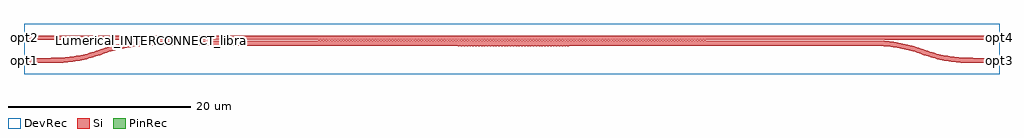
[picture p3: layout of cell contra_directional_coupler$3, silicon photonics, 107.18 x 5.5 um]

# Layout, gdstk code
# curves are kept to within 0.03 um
import gdstk
lib = gdstk.Library(unit=1e-6, precision=1e-09)
def R(c, l, rs):  # rectangles x0, y0, x1, y1
    for r in rs: c.add(gdstk.rectangle(r[:2], r[2:], *l))
def A(c, l, x, y, w, h, nx, ny, dx, dy):  # array of equal rectangles
    R(c, l, [(x+i*dx, y+j*dy, x+i*dx+w, y+j*dy+h) for i in range(nx) for j in range(ny)])
def P(c, l, *ps):  # polygons
    for p in ps: c.add(gdstk.Polygon(p, *l))
Si = (1, 0)
PinRec = (1, 10)
DevRec = (68, 0)

contra_directional_coupl = lib.new_cell('contra_directional_coupler$3')
A(contra_directional_coupl, Si, 33.654, -0.643, 0.158, 0.305, 39, 1, 0.316, 0)
A(contra_directional_coupl, Si, 29.23, -0.642, 0.158, 0.304, 14, 1, 0.316, 0)
A(contra_directional_coupl, Si, 45.978, -0.642, 0.158, 0.304, 14, 1, 0.316, 0)
A(contra_directional_coupl, Si, 25.754, -0.641, 0.158, 0.303, 11, 1, 0.316, 0)
A(contra_directional_coupl, Si, 50.402, -0.641, 0.158, 0.303, 11, 1, 0.316, 0)
A(contra_directional_coupl, Si, 23.226, -0.64, 0.158, 0.302, 8, 1, 0.316, 0)
A(contra_directional_coupl, Si, 53.878, -0.64, 0.158, 0.302, 8, 1, 0.316, 0)
A(contra_directional_coupl, Si, 20.698, -0.639, 0.158, 0.301, 8, 1, 0.316, 0)
A(contra_directional_coupl, Si, 56.406, -0.639, 0.158, 0.301, 8, 1, 0.316, 0)
A(contra_directional_coupl, Si, 18.486, -0.638, 0.158, 0.3, 7, 1, 0.316, 0)
A(contra_directional_coupl, Si, 58.934, -0.638, 0.158, 0.3, 7, 1, 0.316, 0)
A(contra_directional_coupl, Si, 16.274, -0.637, 0.158, 0.299, 7, 1, 0.316, 0)
A(contra_directional_coupl, Si, 61.146, -0.637, 0.158, 0.299, 7, 1, 0.316, 0)
A(contra_directional_coupl, Si, 14.062, -0.636, 0.158, 0.298, 7, 1, 0.316, 0)
A(contra_directional_coupl, Si, 63.358, -0.636, 0.158, 0.298, 7, 1, 0.316, 0)
A(contra_directional_coupl, Si, 12.166, -0.635, 0.158, 0.297, 6, 1, 0.316, 0)
A(contra_directional_coupl, Si, 65.57, -0.635, 0.158, 0.297, 6, 1, 0.316, 0)
A(contra_directional_coupl, Si, 9.954, -0.634, 0.158, 0.296, 7, 1, 0.316, 0)
A(contra_directional_coupl, Si, 67.466, -0.634, 0.158, 0.296, 7, 1, 0.316, 0)
A(contra_directional_coupl, Si, 8.058, -0.633, 0.158, 0.295, 6, 1, 0.316, 0)
A(contra_directional_coupl, Si, 69.678, -0.633, 0.158, 0.295, 6, 1, 0.316, 0)
A(contra_directional_coupl, Si, 6.162, -0.632, 0.158, 0.294, 6, 1, 0.316, 0)
A(contra_directional_coupl, Si, 71.574, -0.632, 0.158, 0.294, 6, 1, 0.316, 0)
A(contra_directional_coupl, Si, 3.95, -0.631, 0.158, 0.293, 7, 1, 0.316, 0)
A(contra_directional_coupl, Si, 73.47, -0.631, 0.158, 0.293, 7, 1, 0.316, 0)
A(contra_directional_coupl, Si, 2.054, -0.63, 0.158, 0.292, 6, 1, 0.316, 0)
A(contra_directional_coupl, Si, 75.682, -0.63, 0.158, 0.292, 6, 1, 0.316, 0)
A(contra_directional_coupl, Si, 0.158, -0.629, 0.158, 0.291, 6, 1, 0.316, 0)
A(contra_directional_coupl, Si, 77.578, -0.629, 0.158, 0.291, 5, 1, 0.316, 0)
A(contra_directional_coupl, Si, 0.316, -0.607, 0.158, 0.269, 6, 1, 0.316, 0)
A(contra_directional_coupl, Si, 77.736, -0.607, 0.158, 0.269, 5, 1, 0.316, 0)
A(contra_directional_coupl, Si, 2.212, -0.606, 0.158, 0.268, 6, 1, 0.316, 0)
A(contra_directional_coupl, Si, 75.84, -0.606, 0.158, 0.268, 6, 1, 0.316, 0)
A(contra_directional_coupl, Si, 4.108, -0.605, 0.158, 0.267, 7, 1, 0.316, 0)
A(contra_directional_coupl, Si, 73.628, -0.605, 0.158, 0.267, 7, 1, 0.316, 0)
A(contra_directional_coupl, Si, 6.32, -0.604, 0.158, 0.266, 6, 1, 0.316, 0)
A(contra_directional_coupl, Si, 71.732, -0.604, 0.158, 0.266, 6, 1, 0.316, 0)
A(contra_directional_coupl, Si, 8.216, -0.603, 0.158, 0.265, 6, 1, 0.316, 0)
A(contra_directional_coupl, Si, 69.836, -0.603, 0.158, 0.265, 6, 1, 0.316, 0)
A(contra_directional_coupl, Si, 10.112, -0.602, 0.158, 0.264, 7, 1, 0.316, 0)
A(contra_directional_coupl, Si, 67.624, -0.602, 0.158, 0.264, 7, 1, 0.316, 0)
A(contra_directional_coupl, Si, 12.324, -0.601, 0.158, 0.263, 6, 1, 0.316, 0)
A(contra_directional_coupl, Si, 65.728, -0.601, 0.158, 0.263, 6, 1, 0.316, 0)
A(contra_directional_coupl, Si, 14.22, -0.6, 0.158, 0.262, 7, 1, 0.316, 0)
A(contra_directional_coupl, Si, 63.516, -0.6, 0.158, 0.262, 7, 1, 0.316, 0)
A(contra_directional_coupl, Si, 16.432, -0.599, 0.158, 0.261, 7, 1, 0.316, 0)
A(contra_directional_coupl, Si, 61.304, -0.599, 0.158, 0.261, 7, 1, 0.316, 0)
A(contra_directional_coupl, Si, 18.644, -0.598, 0.158, 0.26, 7, 1, 0.316, 0)
A(contra_directional_coupl, Si, 59.092, -0.598, 0.158, 0.26, 7, 1, 0.316, 0)
A(contra_directional_coupl, Si, 20.856, -0.597, 0.158, 0.259, 8, 1, 0.316, 0)
A(contra_directional_coupl, Si, 56.564, -0.597, 0.158, 0.259, 8, 1, 0.316, 0)
A(contra_directional_coupl, Si, 23.384, -0.596, 0.158, 0.258, 8, 1, 0.316, 0)
A(contra_directional_coupl, Si, 54.036, -0.596, 0.158, 0.258, 8, 1, 0.316, 0)
A(contra_directional_coupl, Si, 25.912, -0.595, 0.158, 0.257, 11, 1, 0.316, 0)
A(contra_directional_coupl, Si, 50.56, -0.595, 0.158, 0.257, 11, 1, 0.316, 0)
A(contra_directional_coupl, Si, 29.388, -0.594, 0.158, 0.256, 14, 1, 0.316, 0)
A(contra_directional_coupl, Si, 46.136, -0.594, 0.158, 0.256, 14, 1, 0.316, 0)
A(contra_directional_coupl, Si, 33.812, -0.593, 0.158, 0.255, 39, 1, 0.316, 0)
A(contra_directional_coupl, Si, 0, -0.338, 0.158, 0.291, 6, 1, 0.316, 0)
A(contra_directional_coupl, Si, 0.158, -0.338, 0.158, 0.269, 6, 1, 0.316, 0)
A(contra_directional_coupl, Si, 1.896, -0.338, 0.158, 0.292, 6, 1, 0.316, 0)
A(contra_directional_coupl, Si, 2.054, -0.338, 0.158, 0.268, 6, 1, 0.316, 0)
A(contra_directional_coupl, Si, 3.792, -0.338, 0.158, 0.293, 7, 1, 0.316, 0)
A(contra_directional_coupl, Si, 3.95, -0.338, 0.158, 0.267, 7, 1, 0.316, 0)
A(contra_directional_coupl, Si, 6.004, -0.338, 0.158, 0.294, 6, 1, 0.316, 0)
A(contra_directional_coupl, Si, 6.162, -0.338, 0.158, 0.266, 6, 1, 0.316, 0)
A(contra_directional_coupl, Si, 7.9, -0.338, 0.158, 0.295, 6, 1, 0.316, 0)
A(contra_directional_coupl, Si, 8.058, -0.338, 0.158, 0.265, 6, 1, 0.316, 0)
A(contra_directional_coupl, Si, 9.796, -0.338, 0.158, 0.296, 7, 1, 0.316, 0)
A(contra_directional_coupl, Si, 9.954, -0.338, 0.158, 0.264, 7, 1, 0.316, 0)
A(contra_directional_coupl, Si, 12.008, -0.338, 0.158, 0.297, 6, 1, 0.316, 0)
A(contra_directional_coupl, Si, 12.166, -0.338, 0.158, 0.263, 6, 1, 0.316, 0)
A(contra_directional_coupl, Si, 13.904, -0.338, 0.158, 0.298, 7, 1, 0.316, 0)
A(contra_directional_coupl, Si, 14.062, -0.338, 0.158, 0.262, 7, 1, 0.316, 0)
A(contra_directional_coupl, Si, 16.116, -0.338, 0.158, 0.299, 7, 1, 0.316, 0)
A(contra_directional_coupl, Si, 16.274, -0.338, 0.158, 0.261, 7, 1, 0.316, 0)
A(contra_directional_coupl, Si, 18.328, -0.338, 0.158, 0.3, 7, 1, 0.316, 0)
A(contra_directional_coupl, Si, 18.486, -0.338, 0.158, 0.26, 7, 1, 0.316, 0)
A(contra_directional_coupl, Si, 20.54, -0.338, 0.158, 0.301, 8, 1, 0.316, 0)
A(contra_directional_coupl, Si, 20.698, -0.338, 0.158, 0.259, 8, 1, 0.316, 0)
A(contra_directional_coupl, Si, 23.068, -0.338, 0.158, 0.302, 8, 1, 0.316, 0)
A(contra_directional_coupl, Si, 23.226, -0.338, 0.158, 0.258, 8, 1, 0.316, 0)
A(contra_directional_coupl, Si, 25.596, -0.338, 0.158, 0.303, 11, 1, 0.316, 0)
A(contra_directional_coupl, Si, 25.754, -0.338, 0.158, 0.257, 11, 1, 0.316, 0)
A(contra_directional_coupl, Si, 29.072, -0.338, 0.158, 0.304, 14, 1, 0.316, 0)
A(contra_directional_coupl, Si, 29.23, -0.338, 0.158, 0.256, 14, 1, 0.316, 0)
A(contra_directional_coupl, Si, 33.496, -0.338, 0.158, 0.305, 39, 1, 0.316, 0)
A(contra_directional_coupl, Si, 33.654, -0.338, 0.158, 0.255, 39, 1, 0.316, 0)
A(contra_directional_coupl, Si, 45.82, -0.338, 0.158, 0.304, 14, 1, 0.316, 0)
A(contra_directional_coupl, Si, 45.978, -0.338, 0.158, 0.256, 14, 1, 0.316, 0)
A(contra_directional_coupl, Si, 50.244, -0.338, 0.158, 0.303, 11, 1, 0.316, 0)
A(contra_directional_coupl, Si, 50.402, -0.338, 0.158, 0.257, 11, 1, 0.316, 0)
A(contra_directional_coupl, Si, 53.72, -0.338, 0.158, 0.302, 8, 1, 0.316, 0)
A(contra_directional_coupl, Si, 53.878, -0.338, 0.158, 0.258, 8, 1, 0.316, 0)
A(contra_directional_coupl, Si, 56.248, -0.338, 0.158, 0.301, 8, 1, 0.316, 0)
A(contra_directional_coupl, Si, 56.406, -0.338, 0.158, 0.259, 8, 1, 0.316, 0)
A(contra_directional_coupl, Si, 58.776, -0.338, 0.158, 0.3, 7, 1, 0.316, 0)
A(contra_directional_coupl, Si, 58.934, -0.338, 0.158, 0.26, 7, 1, 0.316, 0)
A(contra_directional_coupl, Si, 60.988, -0.338, 0.158, 0.299, 7, 1, 0.316, 0)
A(contra_directional_coupl, Si, 61.146, -0.338, 0.158, 0.261, 7, 1, 0.316, 0)
A(contra_directional_coupl, Si, 63.2, -0.338, 0.158, 0.298, 7, 1, 0.316, 0)
A(contra_directional_coupl, Si, 63.358, -0.338, 0.158, 0.262, 7, 1, 0.316, 0)
A(contra_directional_coupl, Si, 65.412, -0.338, 0.158, 0.297, 6, 1, 0.316, 0)
A(contra_directional_coupl, Si, 65.57, -0.338, 0.158, 0.263, 6, 1, 0.316, 0)
A(contra_directional_coupl, Si, 67.308, -0.338, 0.158, 0.296, 7, 1, 0.316, 0)
A(contra_directional_coupl, Si, 67.466, -0.338, 0.158, 0.264, 7, 1, 0.316, 0)
A(contra_directional_coupl, Si, 69.52, -0.338, 0.158, 0.295, 6, 1, 0.316, 0)
A(contra_directional_coupl, Si, 69.678, -0.338, 0.158, 0.265, 6, 1, 0.316, 0)
A(contra_directional_coupl, Si, 71.416, -0.338, 0.158, 0.294, 6, 1, 0.316, 0)
A(contra_directional_coupl, Si, 71.574, -0.338, 0.158, 0.266, 6, 1, 0.316, 0)
A(contra_directional_coupl, Si, 73.312, -0.338, 0.158, 0.293, 7, 1, 0.316, 0)
A(contra_directional_coupl, Si, 73.47, -0.338, 0.158, 0.267, 7, 1, 0.316, 0)
A(contra_directional_coupl, Si, 75.524, -0.338, 0.158, 0.292, 6, 1, 0.316, 0)
A(contra_directional_coupl, Si, 75.682, -0.338, 0.158, 0.268, 6, 1, 0.316, 0)
A(contra_directional_coupl, Si, 77.42, -0.338, 0.158, 0.291, 5, 1, 0.316, 0)
A(contra_directional_coupl, Si, 77.578, -0.338, 0.158, 0.269, 5, 1, 0.316, 0)
A(contra_directional_coupl, Si, 26.86, 0.047, 0.158, 0.231, 40, 1, 0.316, 0)
A(contra_directional_coupl, Si, 39.816, 0.047, 0.158, 0.231, 40, 1, 0.316, 0)
A(contra_directional_coupl, Si, 21.172, 0.048, 0.158, 0.23, 18, 1, 0.316, 0)
A(contra_directional_coupl, Si, 52.456, 0.048, 0.158, 0.23, 18, 1, 0.316, 0)
A(contra_directional_coupl, Si, 16.748, 0.049, 0.158, 0.229, 14, 1, 0.316, 0)
A(contra_directional_coupl, Si, 58.144, 0.049, 0.158, 0.229, 14, 1, 0.316, 0)
A(contra_directional_coupl, Si, 12.324, 0.05, 0.158, 0.228, 14, 1, 0.316, 0)
A(contra_directional_coupl, Si, 62.568, 0.05, 0.158, 0.228, 14, 1, 0.316, 0)
A(contra_directional_coupl, Si, 8.216, 0.051, 0.158, 0.227, 13, 1, 0.316, 0)
A(contra_directional_coupl, Si, 66.992, 0.051, 0.158, 0.227, 13, 1, 0.316, 0)
A(contra_directional_coupl, Si, 3.792, 0.052, 0.158, 0.226, 14, 1, 0.316, 0)
A(contra_directional_coupl, Si, 71.1, 0.052, 0.158, 0.226, 14, 1, 0.316, 0)
A(contra_directional_coupl, Si, 0, 0.053, 0.158, 0.225, 12, 1, 0.316, 0)
A(contra_directional_coupl, Si, 75.524, 0.053, 0.158, 0.225, 11, 1, 0.316, 0)
A(contra_directional_coupl, Si, 0.158, 0.064, 0.158, 0.214, 12, 1, 0.316, 0)
A(contra_directional_coupl, Si, 75.682, 0.064, 0.158, 0.214, 11, 1, 0.316, 0)
A(contra_directional_coupl, Si, 3.95, 0.065, 0.158, 0.213, 14, 1, 0.316, 0)
A(contra_directional_coupl, Si, 71.258, 0.065, 0.158, 0.213, 14, 1, 0.316, 0)
A(contra_directional_coupl, Si, 8.374, 0.066, 0.158, 0.212, 13, 1, 0.316, 0)
A(contra_directional_coupl, Si, 67.15, 0.066, 0.158, 0.212, 13, 1, 0.316, 0)
A(contra_directional_coupl, Si, 12.482, 0.067, 0.158, 0.211, 14, 1, 0.316, 0)
A(contra_directional_coupl, Si, 62.726, 0.067, 0.158, 0.211, 14, 1, 0.316, 0)
A(contra_directional_coupl, Si, 16.906, 0.068, 0.158, 0.21, 14, 1, 0.316, 0)
A(contra_directional_coupl, Si, 58.302, 0.068, 0.158, 0.21, 14, 1, 0.316, 0)
A(contra_directional_coupl, Si, 21.33, 0.069, 0.158, 0.209, 18, 1, 0.316, 0)
A(contra_directional_coupl, Si, 52.614, 0.069, 0.158, 0.209, 18, 1, 0.316, 0)
A(contra_directional_coupl, Si, 27.018, 0.07, 0.158, 0.208, 81, 1, 0.316, 0)
A(contra_directional_coupl, Si, 0.158, 0.278, 0.158, 0.225, 12, 1, 0.316, 0)
A(contra_directional_coupl, Si, 0.316, 0.278, 0.158, 0.214, 12, 1, 0.316, 0)
A(contra_directional_coupl, Si, 3.95, 0.278, 0.158, 0.226, 14, 1, 0.316, 0)
A(contra_directional_coupl, Si, 4.108, 0.278, 0.158, 0.213, 14, 1, 0.316, 0)
A(contra_directional_coupl, Si, 8.374, 0.278, 0.158, 0.227, 13, 1, 0.316, 0)
A(contra_directional_coupl, Si, 8.532, 0.278, 0.158, 0.212, 13, 1, 0.316, 0)
A(contra_directional_coupl, Si, 12.482, 0.278, 0.158, 0.228, 14, 1, 0.316, 0)
A(contra_directional_coupl, Si, 12.64, 0.278, 0.158, 0.211, 14, 1, 0.316, 0)
A(contra_directional_coupl, Si, 16.906, 0.278, 0.158, 0.229, 14, 1, 0.316, 0)
A(contra_directional_coupl, Si, 17.064, 0.278, 0.158, 0.21, 14, 1, 0.316, 0)
A(contra_directional_coupl, Si, 21.33, 0.278, 0.158, 0.23, 18, 1, 0.316, 0)
A(contra_directional_coupl, Si, 21.488, 0.278, 0.158, 0.209, 18, 1, 0.316, 0)
A(contra_directional_coupl, Si, 27.018, 0.278, 0.158, 0.231, 40, 1, 0.316, 0)
A(contra_directional_coupl, Si, 27.176, 0.278, 0.158, 0.208, 81, 1, 0.316, 0)
A(contra_directional_coupl, Si, 39.974, 0.278, 0.158, 0.231, 40, 1, 0.316, 0)
A(contra_directional_coupl, Si, 52.614, 0.278, 0.158, 0.23, 18, 1, 0.316, 0)
A(contra_directional_coupl, Si, 52.772, 0.278, 0.158, 0.209, 18, 1, 0.316, 0)
A(contra_directional_coupl, Si, 58.302, 0.278, 0.158, 0.229, 14, 1, 0.316, 0)
A(contra_directional_coupl, Si, 58.46, 0.278, 0.158, 0.21, 14, 1, 0.316, 0)
A(contra_directional_coupl, Si, 62.726, 0.278, 0.158, 0.228, 14, 1, 0.316, 0)
A(contra_directional_coupl, Si, 62.884, 0.278, 0.158, 0.211, 14, 1, 0.316, 0)
A(contra_directional_coupl, Si, 67.15, 0.278, 0.158, 0.227, 13, 1, 0.316, 0)
A(contra_directional_coupl, Si, 67.308, 0.278, 0.158, 0.212, 13, 1, 0.316, 0)
A(contra_directional_coupl, Si, 71.258, 0.278, 0.158, 0.226, 14, 1, 0.316, 0)
A(contra_directional_coupl, Si, 71.416, 0.278, 0.158, 0.213, 14, 1, 0.316, 0)
A(contra_directional_coupl, Si, 75.682, 0.278, 0.158, 0.225, 11, 1, 0.316, 0)
A(contra_directional_coupl, Si, 75.84, 0.278, 0.158, 0.214, 11, 1, 0.316, 0)
R(contra_directional_coupl, Si, [(0,-0.618,0.158,-0.338), (79,-0.338,79.158,-0.058), (39.5,0.046,39.658,0.278), (-5.5,0.058,0,0.498), (79,0.058,79.158,0.278), (79.158,0.058,84.658,0.498), (0,0.278,0.158,0.498), (39.658,0.278,39.816,0.51)])
P(contra_directional_coupl, Si, [(89.89,-2.502),(88.337,-2.423),(86.801,-2.186),(85.544,-1.871),(83.373,-1.157),(81.911,-0.829),(80.673,-0.671),(79.158,-0.618),(79.158,-0.058),(80.462,-0.093),(82.006,-0.277),(83.523,-0.618),(85.703,-1.334),(86.914,-1.638),(88.394,-1.866),(90.158,-1.942),(90.158,-2.502)],
  [(90.158,-2.502),(90.158,-1.942),(93.158,-1.972),(93.158,-2.472)],
  [(93.158,0.028),(84.658,0.058),(84.658,0.498),(93.158,0.528)],
  [(-11,-2.502),(-11,-1.942),(-9.236,-1.866),(-7.756,-1.638),(-6.545,-1.334),(-4.365,-0.618),(-2.848,-0.277),(-1.304,-0.093),(0,-0.058),(0,-0.618),(-1.764,-0.694),(-3.244,-0.922),(-4.455,-1.226),(-6.635,-1.942),(-8.152,-2.283),(-9.696,-2.467)],
  [(-11,-2.502),(-14,-2.472),(-14,-1.972),(-11,-1.942)],
  [(-14,0.028),(-14,0.528),(-5.5,0.498),(-5.5,0.058)])
R(contra_directional_coupl, DevRec, [(-14,-3.722,93.158,1.778)])
contra_directional_coupl.add(gdstk.FlexPath([(-13.99,-2.222),(-14.01,-2.222)], 0.5, ends="flush", simple_path=True, layer=1, datatype=10))  # PinRec
contra_directional_coupl.add(gdstk.FlexPath([(-13.99,0.278),(-14.01,0.278)], 0.5, ends="flush", simple_path=True, layer=1, datatype=10))  # PinRec
contra_directional_coupl.add(gdstk.FlexPath([(93.148,-2.222),(93.168,-2.222)], 0.5, ends="flush", simple_path=True, layer=1, datatype=10))  # PinRec
contra_directional_coupl.add(gdstk.FlexPath([(93.148,0.278),(93.168,0.278)], 0.5, ends="flush", simple_path=True, layer=1, datatype=10))  # PinRec
contra_directional_coupl.add(gdstk.Label('opt1', (-14,-2.222), layer=1, texttype=10))
contra_directional_coupl.add(gdstk.Label('opt2', (-14,0.278), layer=1, texttype=10))
contra_directional_coupl.add(gdstk.Label('opt3', (93.158,-2.222), layer=1, texttype=10))
contra_directional_coupl.add(gdstk.Label('opt4', (93.158,0.278), layer=1, texttype=10))
contra_directional_coupl.add(gdstk.Label('Lumerical_INTERCONNECT_library=Design kits/EBeam', (0,0), layer=68, texttype=0))
contra_directional_coupl.add(gdstk.Label('Component=contra_directional_coupler', (0,0.1), layer=68, texttype=0))

lib.write_gds('contra_directional_coupler_3.gds')
